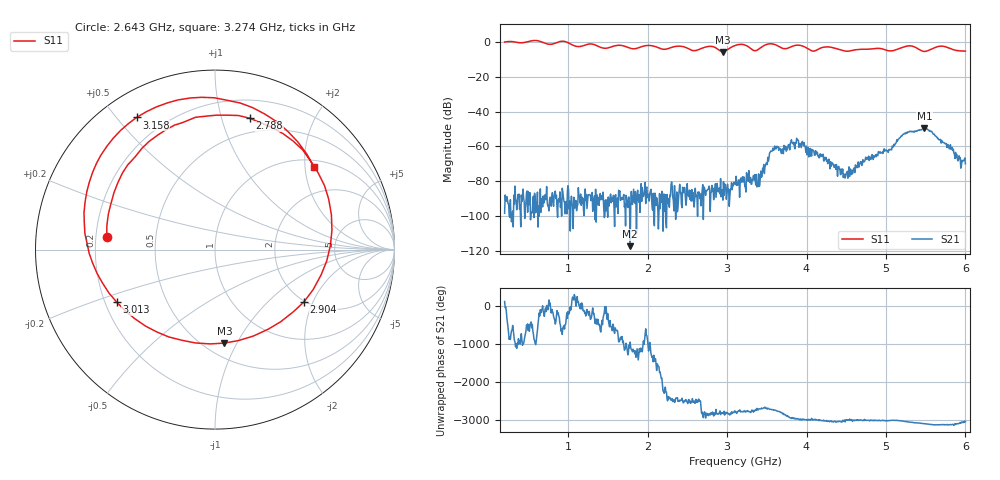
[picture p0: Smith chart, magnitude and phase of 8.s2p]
! NanoVNA-App by OneOfEleven et al v1.1.209 (+OD15)
! Date: 2024-07-30 15:17:55
! Start: 200MHz Stop: 6GHz Points: 801
! S-Parameter data: F S11 S21 S12 S22
# Hz S RI R 50
!  Frequency  S11_Real  S11_Imag  S21_Real  S21_Imag  S12_Real  S12_Imag  S22_Real  S22_Imag
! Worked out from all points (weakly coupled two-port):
!   801 points, 200 MHz to 6 GHz, reference 50 ohm
!   highest |S21| = -49.55 dB at 5.485 GHz (marker M1); lowest = -117.3 dB at 1.78 GHz (marker M2)
!   lowest |S11| = -5.6 dB at 2.948 GHz (marker M3), VSWR 3.20, Z = 31.1 - j44.6 ohm
!   |S11| at or under -10 dB: nowhere
!   S12 and S22 are empty: the file has one direction only
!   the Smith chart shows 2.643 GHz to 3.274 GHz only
!   S11 on the Smith chart (normalised r, x): 2.643 GHz: 0.25, +0.05; 2.788 GHz: 0.36, +1.24; 2.904 GHz: 1.97, -1.72; 3.013 GHz: 0.25, -0.23; 3.158 GHz: 0.10, +0.57; 3.274 GHz: 1.18, +2.24
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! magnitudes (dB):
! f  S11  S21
! 200 MHz  0.0  -98.4
! 1.171 GHz  -2.3  -89.0
! 1.78 GHz  -3.5  -117.3
! 2.136 GHz  -3.3  -107.4
! 2.643 GHz  -4.3  -87.6
! 2.788 GHz  -2.4  -97.4
! 2.904 GHz  -4.8  -83.7
! 2.948 GHz  -5.6  -90.8
! 3.013 GHz  -4.1  -86.0
! 3.1 GHz  -2.0  -81.6
! 3.158 GHz  -1.3  -89.2
! 3.274 GHz  -2.9  -73.8
! 3.412 GHz  -3.6  -82.4
! 3.607 GHz  -1.5  -60.5
! 3.89 GHz  -1.7  -56.4
! 4.072 GHz  -5.1  -61.8
! 4.492 GHz  -5.2  -77.2
! 5.036 GHz  -5.0  -61.8
! 5.231 GHz  -2.7  -52.5
! 5.485 GHz  -5.4  -49.5
! 5.696 GHz  -2.3  -58.0
! 6 GHz  -5.2  -69.9
